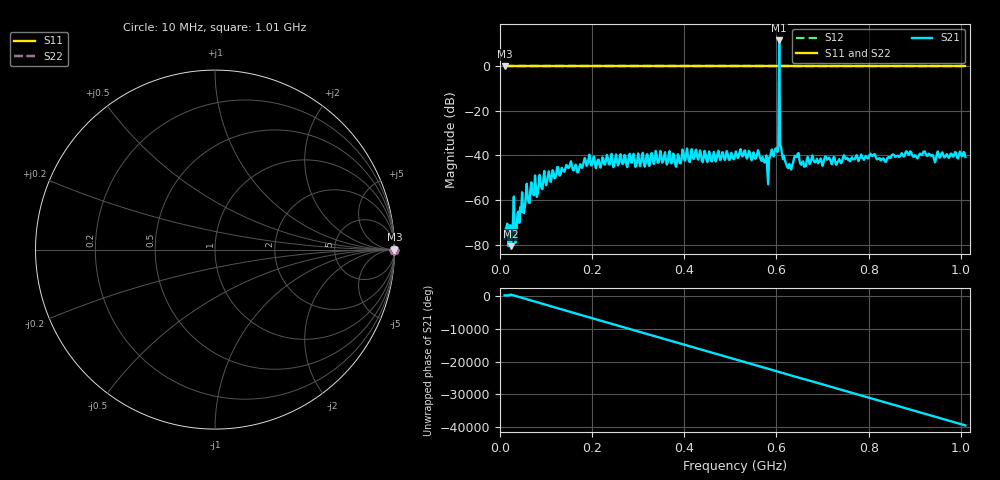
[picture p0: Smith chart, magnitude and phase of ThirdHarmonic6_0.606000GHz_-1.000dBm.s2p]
! 8/15/2025 7:50:11 PM
! C:\ANRITSUVNA\TEMP\TEMP.S2P
! CHANNEL.1
! TR.MEASUREMENT
! RAW.DATA
! RF.CORRECTION.OFF
! AVERAGING.OFF
! IF.BANDWIDTH: 5KHZ
! SWEEPTYPE:  FREQ.SWEEP(Linear)
! Reference Plane Port Info
! PORT:  PORT1  PORT2
! DISTANCE:  0  m  0  m
! TIME:  0  s  0  s
! PHASE.OFFSET:  0  deg.  0  deg.
! LOSS:  0  dB  0  dB
! REF.LOSS:  0  dB  0  dB
! REF.FREQ:  0  Hz  0  Hz
! Power Info
! POWER:  -20  dBm  -20  dBm
! EFF.POWER:  -20  dBm  -20  dBm
! SOURCE.ATTEN:  0  dB  0  dB
! TEST.ATTEN:  0  dB  0  dB
# GHZ S RI R 50.0
! FREQ.GHZ  S11RE  S11IM  S21RE  S21IM  S12RE  S12IM  S22RE  S22IM
!; PortSelection: Port_12
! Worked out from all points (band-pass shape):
!   501 points, 10 MHz to 1.01 GHz, reference 50 ohm
!   highest |S21| = 11.60 dB at 606 MHz (marker M1); lowest = -80.7 dB at 24 MHz (marker M2)
!   |S21| within 3 dB of the highest: 605.8754 MHz to 606.1275 MHz (252.1 kHz wide, 0.0416 % of centre)
!   lowest |S11| = 0.0 dB at 10 MHz (marker M3)
!   |S11| at or under -10 dB: nowhere
!   |S22| runs from 0.0 to 0.0 dB; largest |S21 - S12| = 4.7
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0.01  1 0  2.2e-06 0.000136  1 0  1 0
0.024  1 0  8.81e-05 -2.72e-05  1 0  1 0
0.026  1 0  -0.000166 1.28e-05  1 0  1 0
0.072  1 0  -0.00123 0.000544  1 0  1 0
0.15  1 0  -0.00332 -0.00421  1 0  1 0
0.178  1 0  -0.00523 0.000109  1 0  1 0
0.344  1 0  0.00577 -0.00377  1 0  1 0
0.51  1 0  -0.00785 0.00633  1 0  1 0
0.56  1 0  -0.000937 -0.0131  1 0  1 0
0.578  1 0  0.00263 -0.00963  1 0  1 0
0.6  1 0  -0.00312 0.0145  1 0  1 0
0.602  1 0  0.0116 0.00294  1 0  1 0
0.606  1 0  -3.337 -1.825  1 0  1 0
0.61  1 0  0.0141 0.00694  1 0  1 0
0.612  1 0  0.00462 -0.00967  1 0  1 0
0.622  1 0  -0.000219 -0.00613  1 0  1 0
0.63  1 0  0.00506 -0.00235  1 0  1 0
0.644  1 0  -0.00695 0.00602  1 0  1 0
0.66  1 0  -0.00524 -0.00199  1 0  1 0
0.678  1 0  -0.00874 -0.0049  1 0  1 0
0.844  1 0  0.00798 0.00465  1 0  1 0
1.01  1 0  -0.00917 0.00146  1 0  1 0
